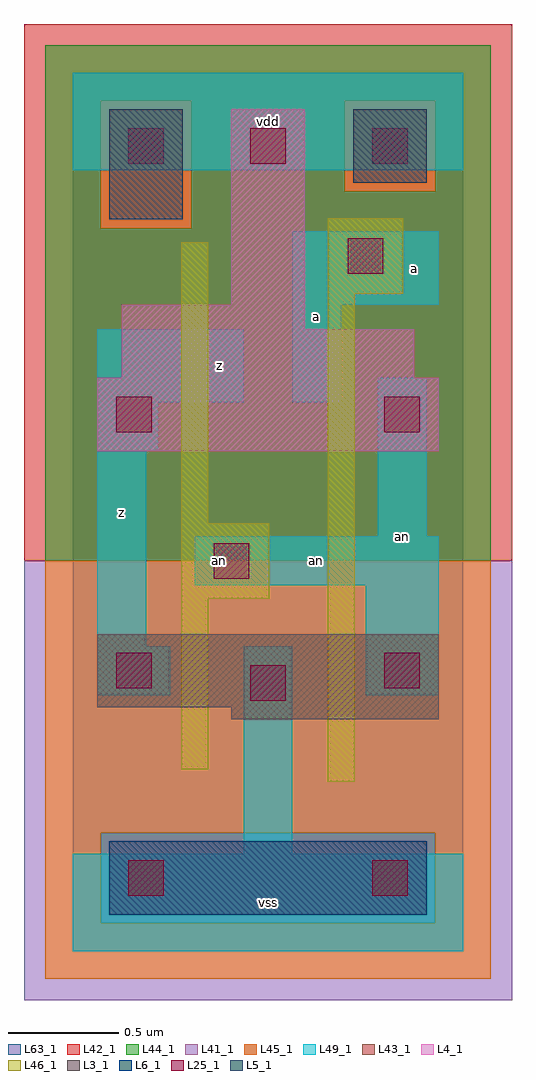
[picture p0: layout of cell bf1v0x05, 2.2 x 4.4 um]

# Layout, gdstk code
import gdstk
lib = gdstk.Library(unit=1e-6, precision=1e-09)
def R(c, l, rs):  # rectangles x0, y0, x1, y1
    for r in rs: c.add(gdstk.rectangle(r[:2], r[2:], *l))
def A(c, l, x, y, w, h, nx, ny, dx, dy):  # array of equal rectangles
    R(c, l, [(x+i*dx, y+j*dy, x+i*dx+w, y+j*dy+h) for i in range(nx) for j in range(ny)])
L3_1 = (3, 1)
L4_1 = (4, 1)
L5_1 = (5, 1)
L6_1 = (6, 1)
L25_1 = (25, 1)
L41_1 = (41, 1)
L42_1 = (42, 1)
L43_1 = (43, 1)
L44_1 = (44, 1)
L45_1 = (45, 1)
L46_1 = (46, 1)
L49_1 = (49, 1)
L63_1 = (63, 1)

bf1v0x05 = lib.new_cell('bf1v0x05')
R(bf1v0x05, L3_1, [(0.715,1.045,1.65,1.1), (0.11,1.1,1.65,1.43)])
R(bf1v0x05, L4_1, [(0.11,2.255,1.65,2.585), (0.22,2.585,1.54,2.805), (0.22,2.805,1.045,2.915), (0.715,2.915,1.045,3.795)])
R(bf1v0x05, L5_1, [(0.165,3.3,0.495,3.795), (1.265,3.465,1.595,3.795)])
R(bf1v0x05, L6_1, [(0.165,0.165,1.595,0.495)])
A(bf1v0x05, L25_1, 0.25, 3.55, 0.16, 0.16, 3, 1, 0.55, 0)
R(bf1v0x05, L25_1, [(0.25,0.25,0.41,0.41), (1.35,0.25,1.51,0.41), (0.8,1.13,0.96,1.29), (0.195,1.185,0.355,1.345), (1.405,1.185,1.565,1.345), (0.635,1.68,0.795,1.84), (0.195,2.34,0.355,2.5), (1.405,2.34,1.565,2.5), (1.24,3.055,1.4,3.215)])
R(bf1v0x05, L41_1, [(-0.22,-0.22,1.98,1.76)])
R(bf1v0x05, L42_1, [(-0.22,1.76,1.98,4.18)])
R(bf1v0x05, L43_1, [(0.165,0.165,1.595,0.495), (0.715,1.045,1.65,1.1), (0.11,1.1,1.65,1.43), (0.11,2.255,1.65,2.585), (0.22,2.585,1.54,2.805), (0.22,2.805,1.045,2.915), (0.715,2.915,1.045,3.795), (0.165,3.3,0.495,3.795), (1.265,3.465,1.595,3.795)])
R(bf1v0x05, L44_1, [(0.125,0.125,1.635,0.535), (-0.125,1.76,1.885,3.26), (-0.125,3.26,0.125,3.835), (0.535,3.26,1.885,3.425), (0.535,3.425,1.225,3.835), (1.635,3.425,1.885,3.835), (-0.125,3.835,1.885,4.085)])
R(bf1v0x05, L45_1, [(-0.125,-0.125,1.885,0.125), (-0.125,0.125,0.125,0.535), (1.635,0.125,1.885,0.535), (-0.125,0.535,1.885,1.76), (0.125,3.26,0.535,3.835), (1.225,3.425,1.635,3.835)])
R(bf1v0x05, L46_1, [(1.15,0.765,1.27,2.965), (0.49,0.82,0.61,1.59), (0.49,1.59,0.885,1.93), (0.49,1.93,0.61,3.195), (1.15,2.965,1.49,3.305)])
R(bf1v0x05, L49_1, [(0,0,1.76,0.44), (0.77,0.44,0.99,1.375), (0.11,1.155,0.44,1.375), (1.32,1.155,1.65,1.65), (0.11,1.375,0.33,2.255), (0.55,1.65,1.65,1.87), (1.375,1.87,1.595,2.585), (0.11,2.255,0.385,2.475), (0.11,2.475,0.77,2.805), (0.99,2.475,1.21,2.915), (0.99,2.915,1.65,3.245), (0,3.52,1.76,3.96)])
R(bf1v0x05, L63_1, [(0,0,1.76,3.96)])
bf1v0x05.add(gdstk.Label('an', (0.66,1.76), layer=49, texttype=1))
bf1v0x05.add(gdstk.Label('z', (0.22,1.98), layer=49, texttype=1))
bf1v0x05.add(gdstk.Label('z', (0.66,2.64), layer=49, texttype=1))
bf1v0x05.add(gdstk.Label('vss', (0.88,0.22), layer=49, texttype=1))
bf1v0x05.add(gdstk.Label('a', (1.1,2.86), layer=49, texttype=1))
bf1v0x05.add(gdstk.Label('vdd', (0.88,3.74), layer=49, texttype=1))
bf1v0x05.add(gdstk.Label('an', (1.1,1.76), layer=49, texttype=1))
bf1v0x05.add(gdstk.Label('an', (1.485,1.87), layer=49, texttype=1))
bf1v0x05.add(gdstk.Label('a', (1.54,3.08), layer=49, texttype=1))

lib.write_gds('bf1v0x05.gds')
